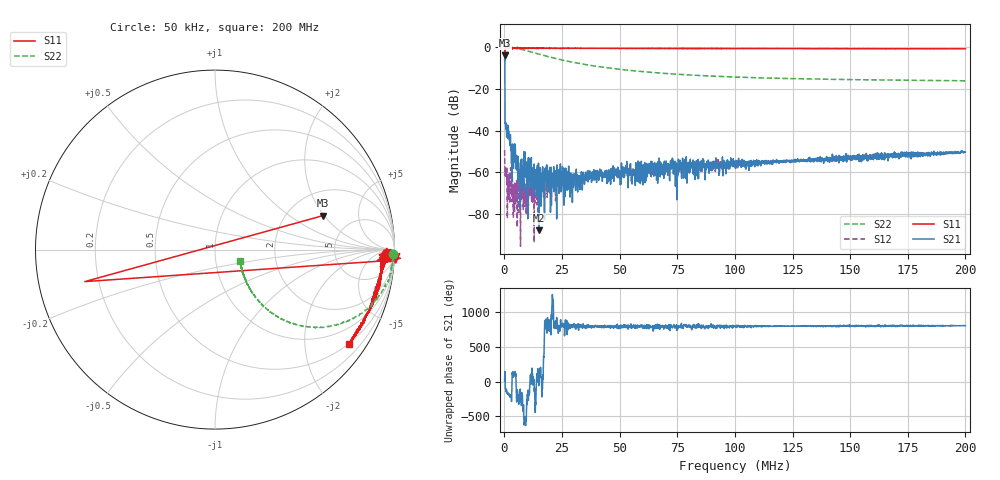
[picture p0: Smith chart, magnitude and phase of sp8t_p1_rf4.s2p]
! 26-Feb-26 11:23:40 AM
! E:\VNA_MEASUREMENTS\SP8T\SP8T_P1_RF4.S2P
! CHANNEL.1
! TR.MEASUREMENT
! CORRECTED.DATA
# GHZ S RI R 50.0
! FREQ.GHZ  S11RE  S11IM  S21RE  S21IM  S12RE  S12IM  S22RE  S22IM
!; PortSelection: Port_12
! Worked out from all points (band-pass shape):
!   2000 points, 50 kHz to 200 MHz, reference 50 ohm
!   highest |S21| = -3.99 dB at 150 kHz (marker M1); lowest = -87.6 dB at 14.85 MHz (marker M2)
!   |S21| within 3 dB of the highest: start of sweep to 159.6 kHz
!   lowest |S11| = -4.0 dB at 150 kHz (marker M3), VSWR 4.44, Z = 155 + j98 ohm
!   |S11| at or under -10 dB: nowhere
!   |S22| runs from -16.2 to 0.0 dB; largest |S21 - S12| = 0.63
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5e-05  -1.425 0.2474  0.4805 0.0358  -0.00338 -0.000573  0.9939 -0.0233
0.000150025  0.6031 0.1896  -0.5243 0.3526  -0.00167 0.000316  0.9982 -0.0164
0.001150275  0.988 -0.0522  -0.0121 -0.00616  0.000802 0.000421  0.9881 -0.0708
0.001350325  1.009 -0.0623  -0.0113 0.000545  -0.000736 -0.000428  0.9818 -0.0909
0.003950975  0.9662 -0.00642  -0.00171 0.00369  -0.000401 -0.0003  0.931 -0.2316
0.005851451  0.9839 -0.0598  -0.000905 0.00227  -0.000374 0.000472  0.8673 -0.3152
0.009152276  0.9192 -0.0439  3.53e-05 0.000813  -7.61e-05 0.00028  0.7259 -0.402
0.01135283  0.9504 -0.0547  0.000143 0.00115  -0.000196 0.000338  0.6451 -0.4267
0.0148537  0.9379 -0.051  2.11e-05 -3.58e-05  -0.000193 0.000201  0.5296 -0.4311
0.0164541  0.9541 -0.0572  -0.00023 -0.000628  -6.62e-05 0.000515  0.4833 -0.4276
0.0184546  0.9275 -0.0693  0.000425 -0.000173  -4.3e-05 0.000418  0.438 -0.4144
0.020055  0.9444 -0.0593  0.000483 0.0003  0.000225 0.000614  0.4074 -0.4021
0.0244561  0.9238 -0.0772  0.000356 0.00063  0.00014 0.000609  0.3383 -0.3675
0.02545635  0.9286 -0.0826  0.00032 0.00118  0.000152 0.000593  0.328 -0.3589
0.02735683  0.9349 -0.0886  -0.000446 0.000413  0.000107 0.000638  0.306 -0.3456
0.03345835  0.9268 -0.0993  0.000209 0.00073  0.000189 0.000813  0.2579 -0.3027
0.06326581  0.9085 -0.1824  0.000235 0.00135  0.000263 0.00118  0.1744 -0.1791
0.06676668  0.9172 -0.1941  0.0002 0.00133  0.000201 0.00128  0.1706 -0.1709
0.100075  0.8851 -0.2844  0.000262 0.00169  0.000385 0.00133  0.1518 -0.119
0.1333833  0.8437 -0.3673  0.000447 0.00188  0.000441 0.00193  0.1458 -0.0925
0.1666917  0.799 -0.4522  0.000227 0.00243  0.000466 0.00261  0.143 -0.0772
0.2  0.7453 -0.5256  0.000295 0.00305  0.000417 0.00299  0.1415 -0.0658
